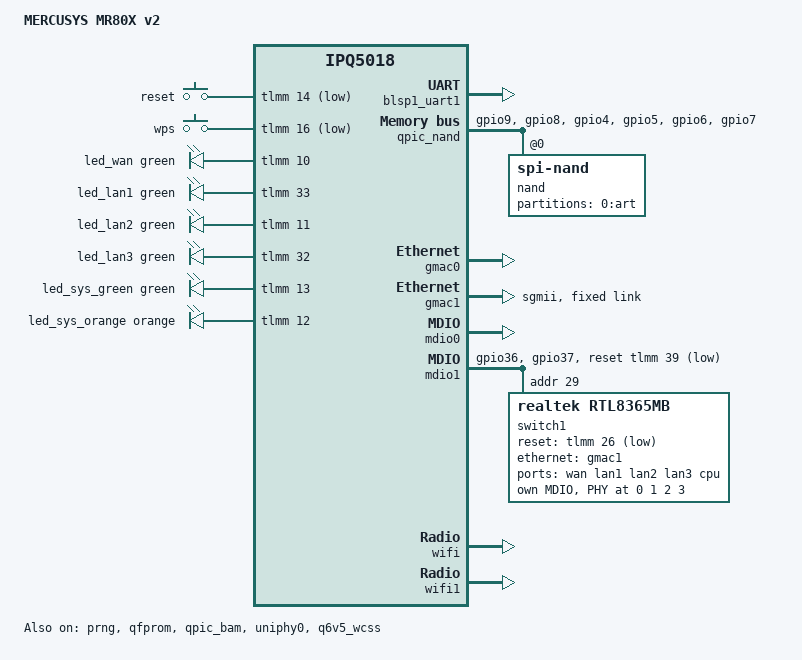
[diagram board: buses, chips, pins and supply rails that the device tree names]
// SPDX-License-Identifier: GPL-2.0-or-later OR MIT
// Device: MERCUSYS MR80X v2
// SoC: Qualcomm IPQ5018 (IPQ0509)
// Switch: Realtek RTL8367S
// WLAN: IPQ5018 (2.4GHz) + QCN6122 (5GHz)
// Flash: 128MB SD-NAND
// RAM: 256MB

/dts-v1/;

#include "ipq5018.dtsi"
#include "ipq5018-ess.dtsi"
#include "ipq5018-qcn6122.dtsi"

#include <dt-bindings/gpio/gpio.h>
#include <dt-bindings/input/input.h>
#include <dt-bindings/leds/common.h>

/ {
	model = "MERCUSYS MR80X v2";
	compatible = "mercusys,mr80x-v2", "qcom,ipq5018";

	aliases {
		label-mac-device = &gmac1;

		led-boot = &led_sys_orange;
		led-failsafe = &led_sys_orange;
		led-running = &led_sys_green;
		led-upgrade = &led_sys_green;

		serial0 = &blsp1_uart1;
	};

	chosen {
		bootargs-append = " root=/dev/ubiblock0_1 swiotlb=1 coherent_pool=2M";
		stdout-path = "serial0:115200n8";
	};

	keys {
		compatible = "gpio-keys";
		pinctrl-0 = <&button_pins>;
		pinctrl-names = "default";

		button-reset {
			label = "reset";
			gpios = <&tlmm 14 GPIO_ACTIVE_LOW>;
			linux,code = <KEY_RESTART>;
		};

		button-wps {
			label = "wps";
			gpios = <&tlmm 16 GPIO_ACTIVE_LOW>;
			linux,code = <KEY_WPS_BUTTON>;
		};
	};

	leds {
		compatible = "gpio-leds";
		pinctrl-0 = <&led_pins>;
		pinctrl-names = "default";

		/* GPL product config for MR3000Xv2 lists ALL_LED=10,33,11,32,13,12,
		 * i.e. wan, lan1, lan2, lan3, sys_green, sys_orange - which is exactly
		 * the mapping the working yanko-yankulov fork uses. An earlier revision
		 * of this file had gpio32/33 as WiFi LEDs; that was wrong. */

		led_wan: led-wan {
			gpios = <&tlmm 10 GPIO_ACTIVE_HIGH>;
			color = <LED_COLOR_ID_GREEN>;
			function = LED_FUNCTION_WAN;
		};

		led_lan1: led-lan1 {
			gpios = <&tlmm 33 GPIO_ACTIVE_HIGH>;
			color = <LED_COLOR_ID_GREEN>;
			function = LED_FUNCTION_LAN;
			function-enumerator = <1>;
		};

		led_lan2: led-lan2 {
			gpios = <&tlmm 11 GPIO_ACTIVE_HIGH>;
			color = <LED_COLOR_ID_GREEN>;
			function = LED_FUNCTION_LAN;
			function-enumerator = <2>;
		};

		led_lan3: led-lan3 {
			gpios = <&tlmm 32 GPIO_ACTIVE_HIGH>;
			color = <LED_COLOR_ID_GREEN>;
			function = LED_FUNCTION_LAN;
			function-enumerator = <3>;
		};

		led_sys_green: led-status-green {
			gpios = <&tlmm 13 GPIO_ACTIVE_HIGH>;
			color = <LED_COLOR_ID_GREEN>;
			function = LED_FUNCTION_STATUS;
		};

		led_sys_orange: led-status-orange {
			gpios = <&tlmm 12 GPIO_ACTIVE_HIGH>;
			color = <LED_COLOR_ID_ORANGE>;
			function = LED_FUNCTION_STATUS;
			default-state = "on";
		};
	};
};

&sleep_clk {
	clock-frequency = <32000>;
};

&xo_board_clk {
	clock-div = <4>;
	clock-mult = <1>;
};

&blsp1_uart1 {
	status = "okay";

	/* Deliberately no pinctrl. Re-muxing gpio20/21 here kills console RX:
	 * TX keeps working because printk busy-polls, but not a single RX
	 * interrupt arrives. Verified on hardware - dropping pinctrl restores
	 * input immediately. U-Boot already sets these pins up correctly, and
	 * the working yanko-yankulov fork also omits pinctrl here. */
};

&prng {
	status = "okay";
};

&qfprom {
	status = "okay";
};

&qpic_bam {
	status = "okay";
};

&qpic_nand {
	pinctrl-0 = <&qpic_pins>;
	pinctrl-names = "default";
	status = "okay";

	nand@0 {
		compatible = "spi-nand";
		reg = <0>;

		nand-ecc-engine = <&qpic_nand>;
		nand-ecc-step-size = <512>;
		nand-ecc-strength = <4>;	/* F50D1G41LB is a 4-bit ECC part - U-Boot prints
					 * "ECC:4-bit". Decoding with <8> returns data that
					 * looks clean but has silently flipped bits, which
					 * corrupts caldata read from 0:art and breaks UBI
					 * on tp_data. */
		nand-bus-width = <8>;

		partitions {
			compatible = "qcom,smem-part";

			partition-art {
				label = "0:art";
				read-only;

				nvmem-layout {
					compatible = "fixed-layout";
					#address-cells = <1>;
					#size-cells = <1>;

					macaddr_art_0: mac-address@0 {
						compatible = "mac-base";
						reg = <0x0 0x6>;
						#nvmem-cell-cells = <1>;
					};

					macaddr_art_6: mac-address@6 {
						compatible = "mac-base";
						reg = <0x6 0x6>;
						#nvmem-cell-cells = <1>;
					};

					macaddr_art_c: mac-address@c {
						compatible = "mac-base";
						reg = <0xc 0x6>;
						#nvmem-cell-cells = <1>;
					};

					macaddr_art_12: mac-address@12 {
						compatible = "mac-base";
						reg = <0x12 0x6>;
						#nvmem-cell-cells = <1>;
					};
				};
			};
		};
	};
};

/*
 * ========================================================================
 *     _______________________         _______________________
 *    |        IPQ5018        |       |       RTL8367S        |
 *    | +------+   +--------+ |       | +--------+   +------+ |
 *    | | MAC0 |---| GE Phy |-+-PHY---+-|  Phy4  |---| P4   | |
 *    | +------+   +--------+ |       | +--------+   +------+ |
 *    | +------+   +--------+ |       | +--------+   +------+ |
 *    | | MAC1 |---| Uniphy |-+-SGMII-+-| SerDes |---| P5   | |
 *    | +------+   +--------+ |       | +--------+   +------+ |
 *    |_______________________|       |_______________________|
 *
 *    RTL8367S Ports: P0=LAN1, P1=LAN2, P2=LAN3, P3=WAN
 *    P4=IPQ GePhy (internal), P5=SGMII CPU port
 * ========================================================================
 */

&uniphy0 {
	status = "okay";

	assigned-clocks = <&uniphy0 UNIPHY_CLK_REF>;
	assigned-clock-rates = <UNIPHY_REFCLK_25MHZ>;
};

/* MAC0 -> GE Phy -> RTL8367S Port 4 */
&gmac0 {
	status = "okay";

	local-mac-address = [08 8a f1 39 98 c4];
};

/* MAC1 -> SGMII -> RTL8367S Port 5 (CPU port) */
&gmac1 {
	status = "okay";

	/* This unit has no usable factory data in 0:art - those bytes read 0xff and
	 * U-Boot itself reports "MAC Address from ART is not valid". The real MAC was
	 * recovered from the tp_data UBIFS (dentry default-mac, inode 69) and is set
	 * statically below. */
	local-mac-address = [08 8a f1 39 98 c0];

	phy-mode = "sgmii";

	fixed-link {
		speed = <1000>;
		full-duplex;
	};
};

&mdio0 {
	status = "okay";
};

&ge_phy {
	qcom,dac-preset-short-cable;
};

&mdio1 {
	status = "okay";

	pinctrl-0 = <&mdio1_pins>;
	pinctrl-names = "default";
	/* GPIO 39, matching the OEM DTB: //soc/mdio@90000 phy-reset-gpio =
	 * <0x06 0x27 0x00>. Belongs on the bus node, not the switch node. */
	reset-gpios = <&tlmm 39 GPIO_ACTIVE_LOW>;

	/* RTL8367S (chip_ver 0x00A0). Its external interface 1 is on port 6 and
	 * supports both SGMII and HSGMII. U-Boot sets it to HSGMII on every boot
	 * ("Set RTL8367S SGMII 2.5Gbps"), but 3.125 GBaud is not reliable on this
	 * board: measured 4-13 %% packet loss with every MAC counter at zero,
	 * because frames mangled on the SerDes are dropped by the PCS layer before
	 * the MAC sees a frame. Plain 1G SGMII measures 0 %% loss and is plenty -
	 * the radios do ~350 Mbit. Both ends are set below and in &gmac1.
	 *
	 * The child "realtek,smi-mdio" node is mandatory - without it the driver
	 * finds the chip but aborts with "no MDIO bus node" / -ENODEV. */
	switch1: ethernet-switch@1d {
		compatible = "realtek,rtl8365mb";
		reg = <29>;

		/* Switch reset, active low. Verified on hardware: driving gpio26 low
		 * then high makes a previously silent chip answer immediately.
		 * Needed because U-Boot only runs rtk_switch_init when it drops to
		 * its prompt - on the autoboot path into NAND the switch is never
		 * taken out of reset, so MDIO reads return 0xffff forever.
		 * Not to be confused with gpio39 on the bus node above, which is the
		 * MDIO/PHY reset the OEM DTB documents. */
		reset-gpios = <&tlmm 26 GPIO_ACTIVE_LOW>;
		#address-cells = <1>;
		#size-cells = <0>;

		mdio {
			compatible = "realtek,smi-mdio";
			#address-cells = <1>;
			#size-cells = <0>;

			ethphy0: ethernet-phy@0 {
				reg = <0>;
			};

			ethphy1: ethernet-phy@1 {
				reg = <1>;
			};

			ethphy2: ethernet-phy@2 {
				reg = <2>;
			};

			ethphy3: ethernet-phy@3 {
				reg = <3>;
			};
		};

		ports {
			#address-cells = <1>;
			#size-cells = <0>;

			port@0 {
				reg = <0>;
				label = "wan";
				phy-handle = <&ethphy0>;

				local-mac-address = [08 8a f1 39 98 c1];
			};

			port@1 {
				reg = <1>;
				label = "lan1";
				phy-handle = <&ethphy1>;
			};

			port@2 {
				reg = <2>;
				label = "lan2";
				phy-handle = <&ethphy2>;
			};

			port@3 {
				reg = <3>;
				label = "lan3";
				phy-handle = <&ethphy3>;
			};

			port@6 {
				reg = <6>;
				label = "cpu";
				ethernet = <&gmac1>;
				phy-mode = "sgmii";

				fixed-link {
					speed = <1000>;
					full-duplex;
				};
			};
		};
	};
};

&tlmm {
	button_pins: button-state {
		button-pins {
			pins = "gpio14", "gpio16";
			function = "gpio";
			drive-strength = <8>;
			bias-pull-up;
		};
	};

	led_pins: led-state {
		pins = "gpio10", "gpio11", "gpio12", "gpio13", "gpio32", "gpio33";
		function = "gpio";
		drive-strength = <8>;
		bias-pull-down;
	};

	mdio1_pins: mdio-state {
		mdc-pins {
			pins = "gpio36";
			function = "mdc";
			drive-strength = <8>;
			bias-pull-up;
		};

		mdio-pins {
			pins = "gpio37";
			function = "mdio";
			drive-strength = <8>;
			bias-pull-up;
		};
	};

	qpic_pins: qpic-state {
		clock-pins {
			pins = "gpio9";
			function = "qspi_clk";
			drive-strength = <8>;
			bias-disable;
		};

		cs-pins {
			pins = "gpio8";
			function = "qspi_cs";
			drive-strength = <8>;
			bias-disable;
		};

		data-pins {
			pins = "gpio4", "gpio5", "gpio6", "gpio7";
			function = "qspi_data";
			drive-strength = <8>;
			bias-disable;
		};
	};

	serial_0_pins: uart0-state {
		pins = "gpio20", "gpio21";
		function = "blsp0_uart0";
		drive-strength = <8>;
		bias-disable;
	};
};

&q6v5_wcss {
	status = "okay";

	/* Exact value from the OEM DTB and the working yanko-yankulov fork:
	 *   <0x1 4 3 0x0f 0 0>  PCIE0 (pcie@a0000000, PERST gpio15) -> UPD3
	 *   <0x2 4 2 0x1b 0 0>  PCIE1 (pcie@80000000, PERST gpio27) -> UPD2 [QCN6122] */
	boot-args = <0x01 0x04 0x03 0x0f 0x00 0x00 0x02 0x04 0x02 0x1b 0x00 0x00>;
};

&wifi {
	/* IPQ5018 2.4GHz */
	status = "okay";

	qcom,rproc = <&q6_wcss_pd1>;
	qcom,ath11k-calibration-variant = "MERCUSYS-MR80X-V2";
	/* Use memory mode 2 to save RAM on 256MB device */
	qcom,ath11k-fw-memory-mode = <1>;
	qcom,bdf-addr = <0x4c400000>;
};

&wifi1 {
	/* QCN6122 5GHz */
	status = "okay";

	qcom,rproc = <&q6_wcss_pd2>;
	qcom,userpd-subsys-name = "q6v5_wcss_userpd2";
	qcom,ath11k-calibration-variant = "MERCUSYS-MR80X-V2";
	/* Use memory mode 2 to save RAM on 256MB device */
	qcom,ath11k-fw-memory-mode = <1>;
	qcom,bdf-addr = <0x4d100000>;
	qcom,m3-dump-addr = <0x4df00000>;
};
